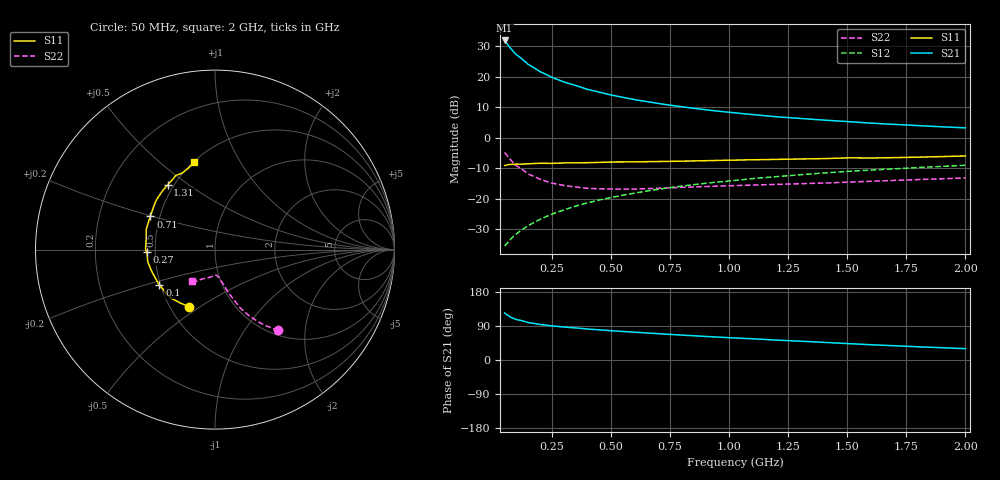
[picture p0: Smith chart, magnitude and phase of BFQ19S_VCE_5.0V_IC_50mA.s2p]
! Infineon Technologies  Discrete & RF Semiconductors
! BFQ19S
! VCE =  5.0 V,  IC =  50 mA
! Common Emitter S-Parameters:  Jan 2016
# GHz  S  MA  R  50
!  f  S11  S21  S12  S22
! GHz  MAG  ANG  MAG  ANG  MAG  ANG  MAG  ANG
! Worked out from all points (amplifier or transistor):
!   391 points, 50 MHz to 2 GHz, reference 50 ohm
!   highest |S21| = 32.0 dB at 50 MHz (marker M1)
!   |S21| within 3 dB of that: start of sweep to 79.79 MHz
!   unconditionally stable (mu >= 1): 267.6 MHz to 1.698 GHz
!   at 375 MHz: K = 1.02, MAG = 18.4 dB, |S12| = -22.0 dB
!   at 1.025 GHz: K = 1.03, MAG = 10.0 dB, |S12| = -14.0 dB
!   at 2 GHz: K = 0.97, MSG = 6.2 dB, |S12| = -9.1 dB
!   S11 on the Smith chart (normalised r, x): 50 MHz: 0.62, -0.45; 100 MHz: 0.49, -0.23; 270 MHz: 0.45, -0.02; 710 MHz: 0.44, +0.20; 1.31 GHz: 0.46, +0.42; 2 GHz: 0.51, +0.66
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0.05  0.3498 -114.9  39.64 124.2  0.0165 65.9  0.5724 -51.9
0.06  0.3555 -123.8  35.02 119.2  0.0184 66.7  0.5082 -56.4
0.07  0.3645 -132.2  31.15 115.1  0.0204 66.1  0.456 -59.9
0.08  0.3663 -137.6  28 111.7  0.0224 67.2  0.4131 -62.8
0.09  0.364 -143.0  25.34 109.0  0.0245 67.3  0.3768 -65.1
0.1  0.3685 -147.3  23.07 106.7  0.0262 68.1  0.3465 -67.0
0.15  0.3734 -160.9  15.97 98.7  0.0359 70.6  0.2535 -72.5
0.2  0.3807 -170.1  12.17 93.7  0.0454 72.5  0.2064 -75.9
0.25  0.3784 -175.9  9.808 89.9  0.0554 73.1  0.1794 -78.6
0.27  0.3815 -177.8  9.174 88.8  0.0592 73.1  0.173 -79.3
0.3  0.3869 179.4  8.23 86.9  0.065 73.2  0.1634 -80.5
0.375  0.387 173.2  6.722 83.3  0.0798 72.7  0.151 -83.4
0.4  0.388 171.1  6.227 81.7  0.0848 72.6  0.147 -84.5
0.5  0.3994 163.8  5.032 77.2  0.1042 71.8  0.1428 -87.9
0.6  0.4012 158.6  4.215 73.2  0.1231 70.2  0.1431 -91.4
0.7  0.404 153.3  3.646 69.3  0.1422 68.9  0.1473 -94.6
0.71  0.4046 152.8  3.602 69.0  0.144 68.7  0.1479 -95.0
1.03  0.4297 138.0  2.543 58.0  0.2008 63.2  0.1635 -104.9
1.31  0.4462 126.3  2.062 49.4  0.2481 58.5  0.1754 -112.1
1.35  0.449 124.5  2.01 48.1  0.2549 57.8  0.1772 -113.1
1.675  0.4686 111.2  1.673 38.3  0.3056 52.0  0.1974 -118.7
2  0.5009 103.2  1.45 29.9  0.3516 46.7  0.2179 -125.7
